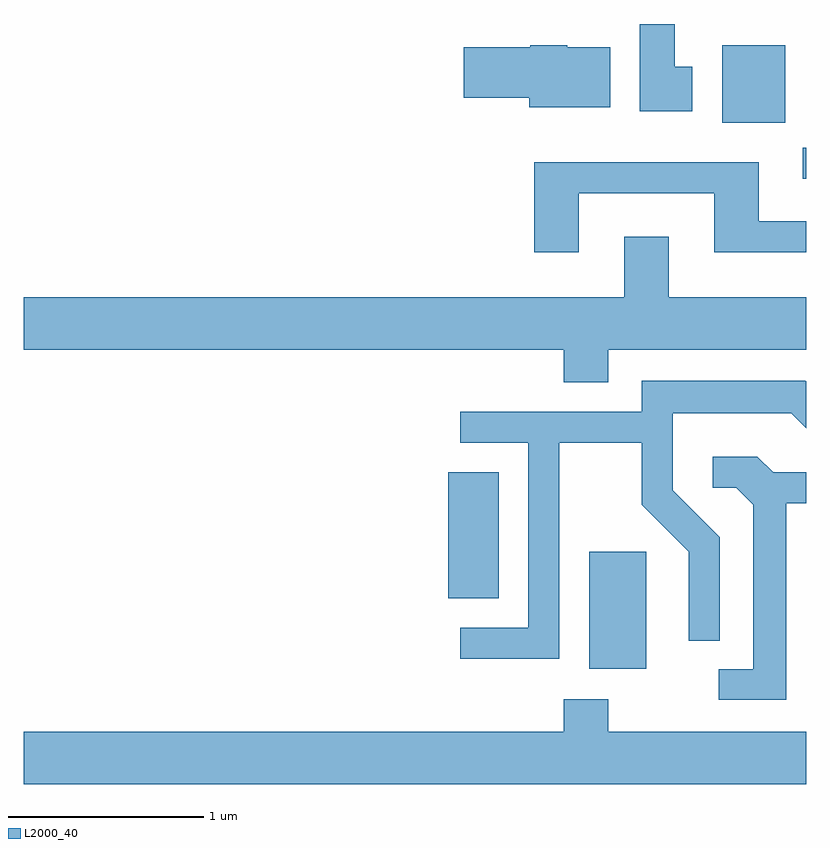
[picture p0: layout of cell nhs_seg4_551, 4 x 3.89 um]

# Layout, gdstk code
import gdstk
lib = gdstk.Library(unit=1e-6, precision=1e-09)
def R(c, l, rs):  # rectangles x0, y0, x1, y1
    for r in rs: c.add(gdstk.rectangle(r[:2], r[2:], *l))
def P(c, l, *ps):  # polygons
    for p in ps: c.add(gdstk.Polygon(p, *l))
L2000_40 = (2000, 40)

nhs_seg4_551 = lib.new_cell('nhs_seg4_551')
R(nhs_seg4_551, L2000_40, [(204.501,1268.686,204.794,1269.284), (203.781,1269.046,204.039,1269.689), (205.593,1271.191,205.611,1271.349), (205.181,1271.476,205.504,1271.874)])
P(nhs_seg4_551, L2000_40, [(205.029,1271.764),(204.939,1271.764),(204.939,1271.982),(204.761,1271.982),(204.761,1271.536),(205.029,1271.536)],
  [(204.609,1271.864),(204.39,1271.864),(204.39,1271.874),(204.2,1271.874),(204.2,1271.864),(203.861,1271.864),(203.861,1271.606),(204.196,1271.606),(204.196,1271.556),(204.609,1271.556)],
  [(204.449,1271.116),(205.141,1271.116),(205.141,1270.816),(205.611,1270.816),(205.611,1270.974),(205.369,1270.974),(205.369,1271.274),(204.221,1271.274),(204.221,1270.816),(204.449,1270.816)],
  [(204.599,1270.316),(205.611,1270.316),(205.611,1270.584),(204.909,1270.584),(204.909,1270.894),(204.681,1270.894),(204.681,1270.584),(201.611,1270.584),(201.611,1270.316),(204.371,1270.316),(204.371,1270.151),(204.599,1270.151)],
  [(204.349,1269.841),(204.771,1269.841),(204.771,1269.524),(205.011,1269.284),(205.011,1268.828),(205.169,1268.828),(205.169,1269.357),(204.929,1269.597),(204.929,1269.991),(205.534,1269.991),(205.611,1269.914),(205.611,1270.155),(205.607,1270.159),(204.771,1270.159),(204.771,1269.999),(203.843,1269.999),(203.843,1269.841),(204.191,1269.841),(204.191,1268.894),(203.843,1268.894),(203.843,1268.736),(204.349,1268.736)],
  [(205.509,1269.531),(205.611,1269.531),(205.611,1269.689),(205.442,1269.689),(205.362,1269.769),(205.133,1269.769),(205.133,1269.611),(205.254,1269.611),(205.341,1269.524),(205.341,1268.684),(205.163,1268.684),(205.163,1268.526),(205.509,1268.526)],
  [(205.611,1268.364),(204.599,1268.364),(204.599,1268.529),(204.371,1268.529),(204.371,1268.364),(201.611,1268.364),(201.611,1268.096),(205.611,1268.096)])

lib.write_gds('nhs_seg4_551.gds')
